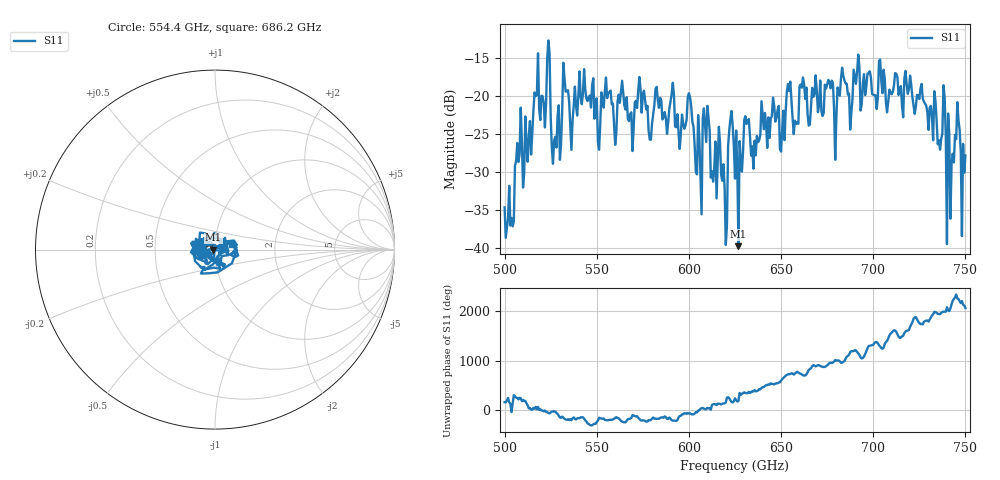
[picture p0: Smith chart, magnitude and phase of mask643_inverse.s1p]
!Created with skrf (http://scikit-rf.org).
# GHz S MA R 50.0
!freq magS11 angS11
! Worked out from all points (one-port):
!   401 points, 500 GHz to 750 GHz, reference 50 ohm
!   lowest |S11| = -39.8 dB at 626.9 GHz (marker M1), VSWR 1.02, Z = 49 - j0.117 ohm
!   |S11| at or under -10 dB: start of sweep to end of sweep
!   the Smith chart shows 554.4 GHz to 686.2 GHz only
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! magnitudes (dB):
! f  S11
! 500 GHz  -34.7
! 516.9 GHz  -20.0
! 523.8 GHz  -12.6
! 526.9 GHz  -25.8
! 531.2 GHz  -21.8
! 562.5 GHz  -20.9
! 579.4 GHz  -25.7
! 590.6 GHz  -19.7
! 593.8 GHz  -22.4
! 600.6 GHz  -20.1
! 605.6 GHz  -25.4
! 609.4 GHz  -26.0
! 619.4 GHz  -32.2
! 622.5 GHz  -23.0
! 625 GHz  -30.9
! 626.9 GHz  -39.8
! 631.2 GHz  -23.7
! 635 GHz  -29.6
! 656.2 GHz  -22.9
! 680 GHz  -22.8
! 683.8 GHz  -17.3
! 687.5 GHz  -24.4
! 691.2 GHz  -16.7
! 718.8 GHz  -19.7
! 738.1 GHz  -18.5
! 741.2 GHz  -25.0
! 745.6 GHz  -20.8
! 750 GHz  -27.8
